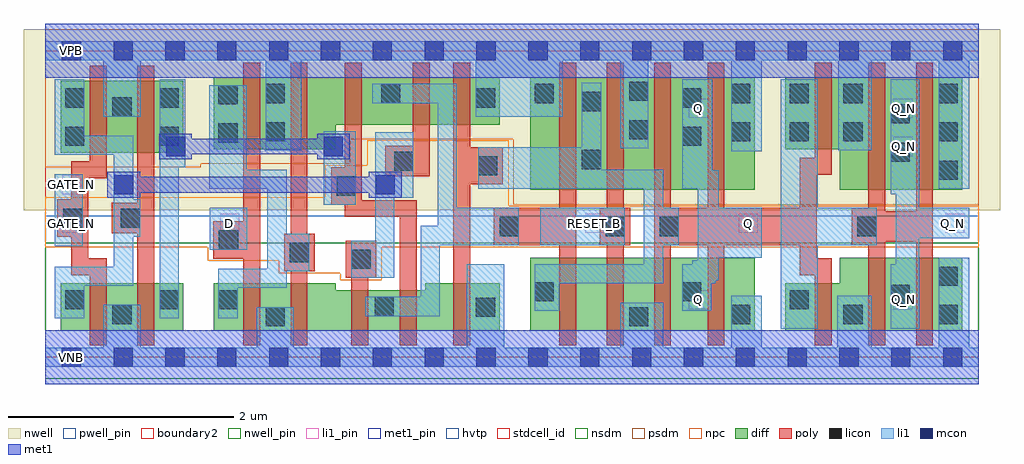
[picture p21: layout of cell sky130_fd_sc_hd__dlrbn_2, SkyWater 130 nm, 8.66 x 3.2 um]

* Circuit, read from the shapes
.subckt sky130_fd_sc_hd__dlrbn_2 D GATE_N Q Q_N RESET_B VGND VNB VPB VPWR
XM1 VGND GATE_N n1 VNB sky130_fd_pr__nfet_01v8 w=0.42 l=0.15
XM2 n2 n1 VGND VNB sky130_fd_pr__nfet_01v8 w=0.42 l=0.15
XM3 VGND D n3 VNB sky130_fd_pr__nfet_01v8 w=0.42 l=0.15
XM4 n4 n3 VGND VNB sky130_fd_pr__nfet_01v8 w=0.42 l=0.15
XM5 n5 n1 n4 VNB sky130_fd_pr__nfet_01v8 w=0.36 l=0.15
XM6 n6 n2 n5 VNB sky130_fd_pr__nfet_01v8 w=0.36 l=0.15
XM7 VGND n7 n6 VNB sky130_fd_pr__nfet_01v8 w=0.42 l=0.15
XM8 n8 n5 n7 VNB sky130_fd_pr__nfet_01v8 w=0.65 l=0.15
XM9 VGND RESET_B n8 VNB sky130_fd_pr__nfet_01v8 w=0.65 l=0.15
XM10 Q n7 VGND VNB sky130_fd_pr__nfet_01v8 w=0.65 l=0.15 m=2
XM11 VGND n7 n9 VNB sky130_fd_pr__nfet_01v8 w=0.42 l=0.15
XM12 Q_N n9 VGND VNB sky130_fd_pr__nfet_01v8 w=0.65 l=0.15 m=2
XM13 VPWR GATE_N n1 VPB sky130_fd_pr__pfet_01v8_hvt w=0.64 l=0.15
XM14 n2 n1 VPWR VPB sky130_fd_pr__pfet_01v8_hvt w=0.64 l=0.15
XM15 VPWR D n3 VPB sky130_fd_pr__pfet_01v8_hvt w=0.64 l=0.15
XM16 n10 n3 VPWR VPB sky130_fd_pr__pfet_01v8_hvt w=0.64 l=0.15
XM17 n5 n2 n10 VPB sky130_fd_pr__pfet_01v8_hvt w=0.42 l=0.15
XM18 n11 n1 n5 VPB sky130_fd_pr__pfet_01v8_hvt w=0.42 l=0.15
XM19 VPWR n7 n11 VPB sky130_fd_pr__pfet_01v8_hvt w=0.42 l=0.15
XM20 n7 n5 VPWR VPB sky130_fd_pr__pfet_01v8_hvt w=1 l=0.15
XM21 VPWR RESET_B n7 VPB sky130_fd_pr__pfet_01v8_hvt w=1 l=0.15
XM22 Q n7 VPWR VPB sky130_fd_pr__pfet_01v8_hvt w=1 l=0.15 m=2
XM23 VPWR n7 n9 VPB sky130_fd_pr__pfet_01v8_hvt w=0.64 l=0.15
XM24 Q_N n9 VPWR VPB sky130_fd_pr__pfet_01v8_hvt w=1 l=0.15 m=2
.ends

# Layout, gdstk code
import gdstk
lib = gdstk.Library(unit=1e-6, precision=1e-09)
def R(c, l, rs):  # rectangles x0, y0, x1, y1
    for r in rs: c.add(gdstk.rectangle(r[:2], r[2:], *l))
def A(c, l, x, y, w, h, nx, ny, dx, dy):  # array of equal rectangles
    R(c, l, [(x+i*dx, y+j*dy, x+i*dx+w, y+j*dy+h) for i in range(nx) for j in range(ny)])
def P(c, l, *ps):  # polygons
    for p in ps: c.add(gdstk.Polygon(p, *l))
nwell_pin = (64, 16)
nwell = (64, 20)
diff = (65, 20)
poly = (66, 20)
licon = (66, 44)
li1_pin = (67, 16)
li1 = (67, 20)
mcon = (67, 44)
met1_pin = (68, 16)
met1 = (68, 20)
hvtp = (78, 44)
stdcell_id = (81, 4)
nsdm = (93, 44)
psdm = (94, 20)
npc = (95, 20)
pwell_pin = (122, 16)
boundary2 = (236, 0)

sky130_fd_sc_hd__dlrbn_2 = lib.new_cell('sky130_fd_sc_hd__dlrbn_2')
R(sky130_fd_sc_hd__dlrbn_2, nwell_pin, [(0.15,2.635,0.32,2.805)])
R(sky130_fd_sc_hd__dlrbn_2, nwell, [(-0.19,1.305,8.47,2.91)])
R(sky130_fd_sc_hd__dlrbn_2, diff, [(0.135,0.235,1.225,0.655), (4.3,0.235,6.295,0.885), (4.3,1.485,6.295,2.485), (0.135,1.815,1.225,2.455)])
P(sky130_fd_sc_hd__dlrbn_2, diff, [(4.03,2.485),(1.495,2.485),(1.495,1.845),(2.575,1.845),(2.575,2.065),(4.03,2.065)],
  [(4.03,0.655),(3.37,0.655),(3.37,0.595),(2.575,0.595),(2.575,0.655),(1.495,0.655),(1.495,0.235),(4.03,0.235)],
  [(8.135,2.485),(6.565,2.485),(6.565,1.845),(7.05,1.845),(7.05,1.485),(8.135,1.485)],
  [(8.135,0.885),(7.05,0.885),(7.05,0.655),(6.565,0.655),(6.565,0.235),(8.135,0.235)])
P(sky130_fd_sc_hd__dlrbn_2, poly, [(1.905,2.615),(1.755,2.615),(1.755,1.205),(1.49,1.205),(1.49,0.875),(1.755,0.875),(1.755,0.105),(1.905,0.105)],
  [(0.965,2.585),(0.815,2.585),(0.815,1.37),(0.59,1.37),(0.59,1.1),(0.815,1.1),(0.815,0.105),(0.965,0.105)],
  [(0.545,0.88),(0.38,0.88),(0.38,1.59),(0.545,1.59),(0.545,2.585),(0.395,2.585),(0.395,1.74),(0.23,1.74),(0.23,1.4),(0.105,1.4),(0.105,1.07),(0.23,1.07),(0.23,0.73),(0.395,0.73),(0.395,0.105),(0.545,0.105)],
  [(2.39,1.095),(2.325,1.095),(2.325,2.615),(2.175,2.615),(2.175,1.095),(2.12,1.095),(2.12,0.765),(2.175,0.765),(2.175,0.105),(2.325,0.105),(2.325,0.765),(2.39,0.765)],
  [(2.935,1.035),(2.665,1.035),(2.665,0.705),(2.715,0.705),(2.715,0.105),(2.865,0.105),(2.865,0.705),(2.935,0.705)],
  [(3.295,1.395),(2.805,1.395),(2.805,2.615),(2.655,2.615),(2.655,1.685),(2.535,1.685),(2.535,1.355),(2.655,1.355),(2.655,1.245),(3.145,1.245),(3.145,0.105),(3.295,0.105)],
  [(3.41,2.615),(3.26,2.615),(3.26,1.875),(3.015,1.875),(3.015,1.605),(3.41,1.605)],
  [(4.06,1.865),(3.77,1.865),(3.77,2.615),(3.62,2.615),(3.62,0.105),(3.77,0.105),(3.77,1.535),(4.06,1.535)],
  [(4.71,2.615),(4.56,2.615),(4.56,1.325),(3.98,1.325),(3.98,0.995),(4.56,0.995),(4.56,0.105),(4.71,0.105)],
  [(5.19,1.325),(5.13,1.325),(5.13,2.615),(4.98,2.615),(4.98,1.325),(4.92,1.325),(4.92,0.995),(4.98,0.995),(4.98,0.105),(5.13,0.105),(5.13,0.995),(5.19,0.995)],
  [(6.975,0.88),(6.845,0.88),(6.845,1.62),(6.975,1.62),(6.975,2.615),(6.825,2.615),(6.825,1.77),(6.695,1.77),(6.695,1.325),(6.025,1.325),(6.025,2.615),(5.875,2.615),(5.875,1.325),(5.55,1.325),(5.55,2.615),(5.4,2.615),(5.4,0.105),(5.55,0.105),(5.55,0.995),(5.875,0.995),(5.875,0.105),(6.025,0.105),(6.025,0.995),(6.695,0.995),(6.695,0.73),(6.825,0.73),(6.825,0.105),(6.975,0.105)],
  [(7.875,2.615),(7.725,2.615),(7.725,1.295),(7.45,1.295),(7.45,2.615),(7.3,2.615),(7.3,1.325),(7.155,1.325),(7.155,0.995),(7.3,0.995),(7.3,0.105),(7.45,0.105),(7.45,1.025),(7.725,1.025),(7.725,0.105),(7.875,0.105)])
A(sky130_fd_sc_hd__dlrbn_2, licon, 7.925, 1.575, 0.17, 0.17, 1, 3, 0, 0.34)
R(sky130_fd_sc_hd__dlrbn_2, licon, [(1.955,0.275,2.125,0.445), (5.18,0.275,5.35,0.445), (0.595,0.295,0.765,0.465), (6.085,0.295,6.255,0.465), (7.08,0.295,7.25,0.465), (7.925,0.295,8.095,0.465), (3.82,0.36,3.99,0.53), (2.92,0.365,3.09,0.535), (0.175,0.425,0.345,0.595), (1.015,0.425,1.185,0.595), (1.535,0.425,1.705,0.595), (6.605,0.425,6.775,0.595), (7.5,0.475,7.67,0.645), (4.34,0.495,4.51,0.665), (5.65,0.495,5.82,0.665), (7.925,0.635,8.095,0.805), (2.715,0.785,2.885,0.955), (2.17,0.845,2.34,1.015), (1.54,0.955,1.71,1.125), (4.03,1.075,4.2,1.245), (4.97,1.075,5.14,1.245), (5.45,1.075,5.62,1.245), (7.205,1.075,7.375,1.245), (0.16,1.15,0.33,1.32), (0.67,1.15,0.84,1.32), (2.585,1.435,2.755,1.605), (3.84,1.615,4.01,1.785), (3.095,1.655,3.265,1.825), (4.76,1.67,4.93,1.84), (7.5,1.735,7.67,1.905), (0.175,1.875,0.345,2.045), (1.015,1.875,1.185,2.045), (5.65,1.875,5.82,2.045), (1.535,1.905,1.705,2.075), (1.955,1.915,2.125,2.085), (6.085,1.915,6.255,2.085), (6.605,1.915,6.775,2.085), (7.08,1.915,7.25,2.085), (5.18,1.935,5.35,2.105), (7.5,2.075,7.67,2.245), (0.595,2.135,0.765,2.305), (4.76,2.185,4.93,2.355), (0.175,2.215,0.345,2.385), (1.015,2.215,1.185,2.385), (3.82,2.215,3.99,2.385), (5.65,2.215,5.82,2.385), (1.535,2.245,1.705,2.415), (1.955,2.255,2.125,2.425), (2.98,2.255,3.15,2.425), (4.34,2.255,4.51,2.425), (6.085,2.255,6.255,2.425), (6.605,2.255,6.775,2.425), (7.08,2.255,7.25,2.425), (5.18,2.275,5.35,2.445)])
R(sky130_fd_sc_hd__dlrbn_2, li1_pin, [(5.71,0.425,5.88,0.595), (7.525,0.425,7.695,0.595), (0.15,1.105,0.32,1.275), (1.55,1.105,1.72,1.275), (4.79,1.105,4.96,1.275), (6.15,1.105,6.32,1.275), (7.985,1.105,8.155,1.275), (0.15,1.445,0.32,1.615), (7.525,1.785,7.695,1.955), (5.71,2.125,5.88,2.295), (7.525,2.125,7.695,2.295)])
R(sky130_fd_sc_hd__dlrbn_2, li1, [(1.46,0.955,1.79,1.325), (0.085,0.985,0.33,1.625), (4.39,0.995,5.14,1.325), (2.47,1.355,2.755,2.005)])
P(sky130_fd_sc_hd__dlrbn_2, li1, [(7.375,1.325),(6.855,1.325),(6.855,2.465),(6.525,2.465),(6.525,0.255),(6.855,0.255),(6.855,0.995),(7.375,0.995)],
  [(8.195,1.325),(7.755,1.325),(7.755,2.465),(7.5,2.465),(7.5,1.445),(7.545,1.445),(7.545,0.825),(7.5,0.825),(7.5,0.255),(7.755,0.255),(7.755,1.055),(8.195,1.055)],
  [(0.84,1.4),(0.78,1.4),(0.78,1.965),(0.345,1.965),(0.345,2.465),(0.085,2.465),(0.085,1.795),(0.605,1.795),(0.605,0.805),(0.085,0.805),(0.085,0.345),(0.345,0.345),(0.345,0.635),(0.78,0.635),(0.78,1.07),(0.84,1.07)],
  [(1.24,2.465),(1.015,2.465),(1.015,0.345),(1.185,0.345),(1.185,1.685),(1.24,1.685)],
  [(2.34,1.095),(2.14,1.095),(2.14,1.665),(1.785,1.665),(1.785,2.415),(1.455,2.415),(1.455,1.495),(1.97,1.495),(1.97,0.785),(1.535,0.785),(1.535,0.345),(1.705,0.345),(1.705,0.615),(2.14,0.615),(2.14,0.765),(2.34,0.765)],
  [(8.28,2.805),(0,2.805),(0,2.635),(0.515,2.635),(0.515,2.135),(0.845,2.135),(0.845,2.635),(1.955,2.635),(1.955,1.835),(2.27,1.835),(2.27,2.635),(3.82,2.635),(3.82,2.135),(4.59,2.135),(4.59,2.635),(5.1,2.635),(5.1,1.855),(5.35,1.855),(5.35,2.635),(6.085,2.635),(6.085,1.83),(6.355,1.83),(6.355,2.635),(7.035,2.635),(7.035,1.835),(7.33,1.835),(7.33,2.635),(7.925,2.635),(7.925,1.495),(8.195,1.495),(8.195,2.635),(8.28,2.635)],
  [(6.355,1.325),(5.975,1.325),(5.975,1.66),(5.915,1.66),(5.915,2.465),(5.65,2.465),(5.65,1.495),(5.79,1.495),(5.79,0.86),(5.74,0.86),(5.74,0.825),(5.65,0.825),(5.65,0.415),(5.91,0.415),(5.91,0.655),(5.95,0.655),(5.95,0.685),(5.975,0.685),(5.975,0.885),(6.355,0.885)],
  [(3.265,1.995),(2.925,1.995),(2.925,1.035),(2.715,1.035),(2.715,0.705),(3.095,0.705),(3.095,1.415),(3.265,1.415)],
  [(4.2,1.325),(3.65,1.325),(3.65,2.425),(2.9,2.425),(2.9,2.255),(3.48,2.255),(3.48,1.165),(3.33,1.165),(3.33,0.535),(2.84,0.535),(2.84,0.365),(3.5,0.365),(3.5,0.995),(4.2,0.995)],
  [(5.62,1.325),(5.48,1.325),(5.48,1.665),(4.93,1.665),(4.93,2.435),(4.76,2.435),(4.76,1.865),(3.84,1.865),(3.84,1.495),(5.31,1.495),(5.31,0.825),(4.34,0.825),(4.34,0.415),(4.56,0.415),(4.56,0.655),(5.48,0.655),(5.48,0.995),(5.62,0.995)],
  [(8.28,0.085),(8.195,0.085),(8.195,0.885),(7.925,0.885),(7.925,0.085),(7.33,0.085),(7.33,0.545),(7.025,0.545),(7.025,0.085),(6.355,0.085),(6.355,0.545),(6.085,0.545),(6.085,0.085),(5.48,0.085),(5.48,0.485),(5.1,0.485),(5.1,0.085),(4.07,0.085),(4.07,0.825),(3.74,0.825),(3.74,0.085),(2.205,0.085),(2.205,0.445),(1.875,0.445),(1.875,0.085),(0.845,0.085),(0.845,0.465),(0.515,0.465),(0.515,0.085),(0,0.085),(0,-0.085),(8.28,-0.085)])
A(sky130_fd_sc_hd__dlrbn_2, mcon, 0.145, -0.085, 0.17, 0.17, 18, 2, 0.46, 2.72)
R(sky130_fd_sc_hd__dlrbn_2, mcon, [(0.61,1.445,0.78,1.615), (2.93,1.445,3.1,1.615), (1.07,1.785,1.24,1.955), (2.47,1.785,2.64,1.955)])
R(sky130_fd_sc_hd__dlrbn_2, met1_pin, [(0.15,-0.085,0.32,0.085), (0.15,2.635,0.32,2.805)])
P(sky130_fd_sc_hd__dlrbn_2, met1, [(2.7,1.985),(2.41,1.985),(2.41,1.94),(1.3,1.94),(1.3,1.985),(1.01,1.985),(1.01,1.755),(1.3,1.755),(1.3,1.8),(2.41,1.8),(2.41,1.755),(2.7,1.755)],
  [(3.16,1.645),(2.87,1.645),(2.87,1.6),(0.84,1.6),(0.84,1.645),(0.55,1.645),(0.55,1.415),(0.84,1.415),(0.84,1.46),(2.87,1.46),(2.87,1.415),(3.16,1.415)])
R(sky130_fd_sc_hd__dlrbn_2, hvtp, [(0,1.25,8.28,2.72)])
R(sky130_fd_sc_hd__dlrbn_2, stdcell_id, [(0,0,8.28,2.72)])
R(sky130_fd_sc_hd__dlrbn_2, nsdm, [(0,-0.19,8.28,1.015)])
P(sky130_fd_sc_hd__dlrbn_2, psdm, [(8.28,2.91),(0,2.91),(0,1.685),(1.38,1.685),(1.38,1.715),(2.705,1.715),(2.705,1.935),(4.15,1.935),(4.15,1.355),(8.28,1.355)])
P(sky130_fd_sc_hd__dlrbn_2, npc, [(8.28,1.345),(4.11,1.345),(4.11,1.925),(2.855,1.925),(2.855,1.705),(2.485,1.705),(2.485,1.42),(0,1.42),(0,0.975),(1.44,0.975),(1.44,0.855),(2.07,0.855),(2.07,0.745),(2.615,0.745),(2.615,0.685),(2.985,0.685),(2.985,0.975),(8.28,0.975)])
R(sky130_fd_sc_hd__dlrbn_2, pwell_pin, [(0.15,-0.085,0.32,0.085)])
R(sky130_fd_sc_hd__dlrbn_2, boundary2, [(0,0,8.28,2.72)])
sky130_fd_sc_hd__dlrbn_2.add(gdstk.FlexPath([(0,0),(8.28,0)], 0.48, ends="flush", simple_path=True, layer=68, datatype=20))  # met1
sky130_fd_sc_hd__dlrbn_2.add(gdstk.FlexPath([(0,2.72),(8.28,2.72)], 0.48, ends="flush", simple_path=True, layer=68, datatype=20))  # met1
sky130_fd_sc_hd__dlrbn_2.add(gdstk.Label('D', (1.635,1.19), layer=67, texttype=5))
sky130_fd_sc_hd__dlrbn_2.add(gdstk.Label('GATE_N', (0.23,1.19), layer=67, texttype=5))
sky130_fd_sc_hd__dlrbn_2.add(gdstk.Label('GATE_N', (0.23,1.53), layer=67, texttype=5))
sky130_fd_sc_hd__dlrbn_2.add(gdstk.Label('Q', (5.795,2.21), layer=67, texttype=5))
sky130_fd_sc_hd__dlrbn_2.add(gdstk.Label('Q', (5.795,0.51), layer=67, texttype=5))
sky130_fd_sc_hd__dlrbn_2.add(gdstk.Label('Q', (6.235,1.19), layer=67, texttype=5))
sky130_fd_sc_hd__dlrbn_2.add(gdstk.Label('RESET_B', (4.875,1.19), layer=67, texttype=5))
sky130_fd_sc_hd__dlrbn_2.add(gdstk.Label('Q_N', (8.05,1.19), layer=67, texttype=5))
sky130_fd_sc_hd__dlrbn_2.add(gdstk.Label('Q_N', (7.61,2.21), layer=67, texttype=5))
sky130_fd_sc_hd__dlrbn_2.add(gdstk.Label('Q_N', (7.61,1.87), layer=67, texttype=5))
sky130_fd_sc_hd__dlrbn_2.add(gdstk.Label('Q_N', (7.61,0.51), layer=67, texttype=5))
sky130_fd_sc_hd__dlrbn_2.add(gdstk.Label('VNB', (0.235,0), layer=64, texttype=59))
sky130_fd_sc_hd__dlrbn_2.add(gdstk.Label('VPB', (0.235,2.72), layer=64, texttype=5))
sky130_fd_sc_hd__dlrbn_2.add(gdstk.Label('VPWR', (0.235,2.72), layer=68, texttype=5))
sky130_fd_sc_hd__dlrbn_2.add(gdstk.Label('VGND', (0.235,0), layer=68, texttype=5))
sky130_fd_sc_hd__dlrbn_2.add(gdstk.Label('dlrbn_2', (0,0), layer=83, texttype=44))

lib.write_gds('sky130_fd_sc_hd__dlrbn_2.gds')
